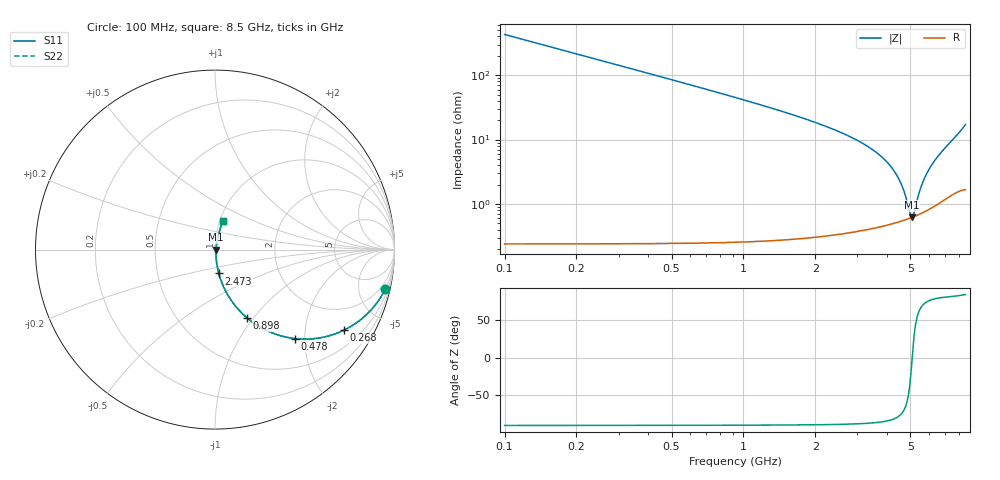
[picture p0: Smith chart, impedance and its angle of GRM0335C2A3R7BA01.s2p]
!Murata Part Number: GRM0335C2A3R7BA01
!These Parameters are Measured in Series Mode Connection
!Data Generated on Mar 30, 2021
!  o--ll--o
!Port1  Port2
!  o------o
!Operation Temp=25[degC], DC Bias Voltage=0[V]
!Freq. Start=100[MHz] Stop=9[GHz] 401[Steps]
# Hz S RI R 50
!Freq.(Hz) S11(Real) S11(Imag) S21(Real) S21(Imag) S12(Real) S12(Imag) S22(Real) S22(Imag)
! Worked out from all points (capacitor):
!   401 points, 100 MHz to 8.5 GHz, reference 50 ohm
!   read as one part in series: C = 3.7 pF near 142 MHz
!   lowest |Z| = 619 mohm at 5.077 GHz (marker M1)
!   series resonance near 5.088 GHz, so ESL is about 260 pH
!   S11 on the Smith chart (normalised r, x): 100 MHz: 1.00, -8.60; 268 MHz: 1.00, -3.20; 478 MHz: 1.00, -1.79; 898 MHz: 1.01, -0.93; 2.473 GHz: 1.01, -0.27; 8.5 GHz: 1.03, +0.34
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1e8  0.9486 -0.2206  0.0514 0.2206  0.0514 0.2206  0.9486 -0.2206
2.05e8  0.8142 -0.3884  0.1858 0.3884  0.1858 0.3884  0.8142 -0.3884
2.68e8  0.7191 -0.4487  0.2809 0.4487  0.2809 0.4487  0.7191 -0.4487
3.73e8  0.5683 -0.4943  0.4317 0.4943  0.4317 0.4943  0.5683 -0.4943
4.78e8  0.4436 -0.4955  0.5564 0.4955  0.5564 0.4955  0.4436 -0.4955
6.67e8  0.288 -0.4509  0.712 0.4509  0.712 0.4509  0.288 -0.4509
8.98e8  0.1794 -0.381  0.8206 0.381  0.8206 0.381  0.1794 -0.381
1.507e9  0.0668 -0.2444  0.9332 0.2444  0.9332 0.2444  0.0668 -0.2444
2.473e9  0.0213 -0.1327  0.9787 0.1327  0.9787 0.1327  0.0213 -0.1327
2.914e9  0.014 -0.1009  0.986 0.1009  0.986 0.1009  0.014 -0.1009
3.733e9  0.00751 -0.0558  0.9925 0.0558  0.9925 0.0558  0.00751 -0.0558
4.3e9  0.00595 -0.0307  0.994 0.0307  0.994 0.0307  0.00595 -0.0307
4.636e9  0.00574 -0.0172  0.9943 0.0172  0.9943 0.0172  0.00574 -0.0172
4.783e9  0.0058 -0.0115  0.9942 0.0115  0.9942 0.0115  0.0058 -0.0115
4.993e9  0.00601 -0.00354  0.994 0.00354  0.994 0.00354  0.00601 -0.00354
5.077e9  0.00614 -0.000399  0.9939 0.000399  0.9939 0.000399  0.00614 -0.000399
5.161e9  0.0063 0.00272  0.9937 -0.00272  0.9937 -0.00272  0.0063 0.00272
5.476e9  0.00711 0.0143  0.9929 -0.0143  0.9929 -0.0143  0.00711 0.0143
5.707e9  0.00795 0.0227  0.9921 -0.0227  0.9921 -0.0227  0.00795 0.0227
6.274e9  0.0109 0.0435  0.9891 -0.0435  0.9891 -0.0435  0.0109 0.0435
7.114e9  0.0181 0.0766  0.9819 -0.0766  0.9819 -0.0766  0.0181 0.0766
8.5e9  0.0433 0.1603  0.9567 -0.1603  0.9567 -0.1603  0.0433 0.1603
